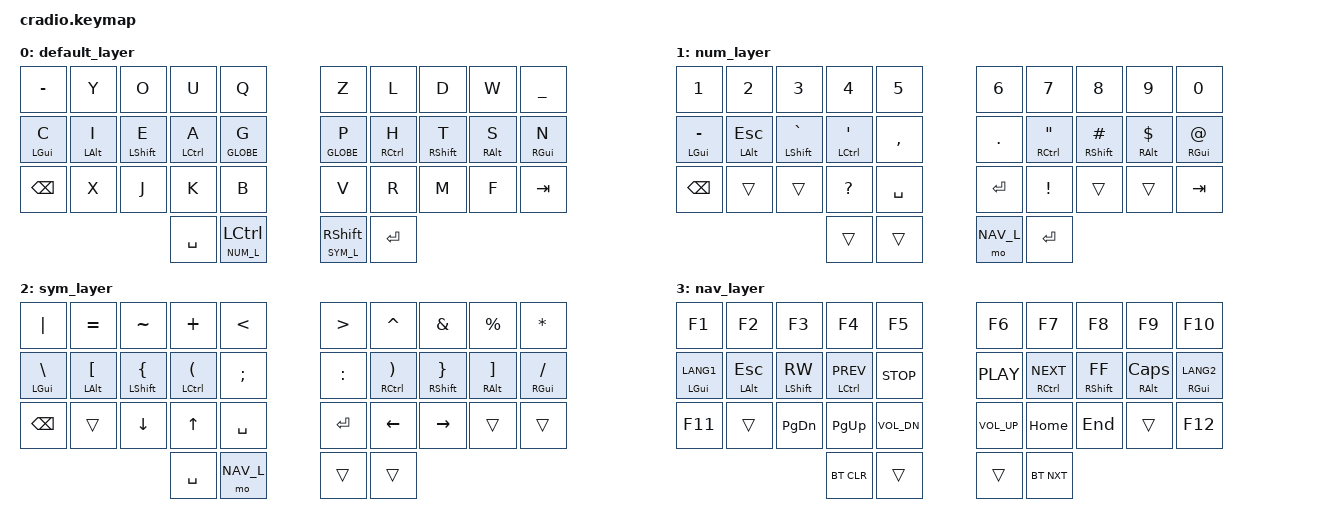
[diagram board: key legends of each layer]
/*
 * Copyright (c) 2020 The ZMK Contributors
 *
 * SPDX-License-Identifier: MIT
 */

#undef ZMK_BEHAVIORS_KEEP_ALL

#include <behaviors.dtsi>
#include <dt-bindings/zmk/keys.h>
#include <dt-bindings/zmk/bt.h>

#define NUM_L 1
#define SYM_L 2
#define NAV_L 3

// Using layer taps on thumbs, having quick tap as well helps w/ repeating space/backspace
&lt { quick-tap-ms = <200>; };

/ {
    behaviors {
        hm: homerow_mods {
            compatible = "zmk,behavior-hold-tap";
            #binding-cells = <2>;
            flavor = "balanced";
            require-prior-idle-ms = <120>;
            tapping-term-ms = <200>;
            quick-tap-ms = <190>;
            bindings = <&kp>, <&kp>;
        };
        mot: mo_or_tap {
            compatible = "zmk,behavior-hold-tap";
            #binding-cells = <2>;
            flavor = "hold-preferred"; // or "balanced"/"hold-preferred"
            tapping-term-ms = <200>;
            bindings = <&mo>, <&sk>;
        };
    };

    keymap {
        compatible = "zmk,keymap";
        wakeup-source;

        default_layer {
            bindings = <
                &kp MINUS  &kp Y      &kp O       &kp U          &kp Q         &kp Z            &kp L          &kp D       &kp W      &kp UNDER
                &hm LGUI C &hm LALT I &hm LSHFT E &hm LCTRL A    &hm GLOBE G   &hm GLOBE P      &hm RCTRL H    &hm RSHFT T &hm RALT S &hm RGUI N
                &kp BSPC   &kp X      &kp J       &kp K          &kp B         &kp V            &kp R          &kp M       &kp F      &kp TAB
                                              &kp SPACE     &mot NUM_L LCTRL   &mot SYM_L RSHFT &kp ENTER
            >;
        };

        num_layer {
            bindings = <
                &kp N1     &kp N2     &kp N3      &kp N4          &kp N5        &kp N6          &kp N7         &kp N8      &kp N9     &kp N0
        &hm LGUI MINUS &hm LALT ESC &hm LSHFT GRAVE &hm LCTRL SQT &kp COMMA     &kp PERIOD &hm RCTRL DQT &hm RSHFT HASH &hm RALT DOLLAR &hm RGUI AT
                &kp BSPC   &trans     &trans      &kp QMARK       &kp SPACE     &kp ENTER       &kp EXCL       &trans      &trans     &kp TAB
                                                  &trans          &trans        &mo NAV_L       &kp ENTER
            >;
        };

        sym_layer {
            bindings = <
                &kp PIPE   &kp EQUAL   &kp TILDE   &kp PLUS       &kp LT        &kp GT          &kp CARET      &kp AMPS    &kp PRCNT  &kp ASTRK
        &hm LGUI BSLH  &hm LALT LBKT  &hm LSHFT LBRC  &hm LCTRL LPAR &kp SEMI  &kp COLON       &hm RCTRL RPAR &hm RSHFT RBRC &hm RALT RBKT &hm RGUI SLASH
                &kp BSPC   &trans      &kp DOWN    &kp UP         &kp SPACE     &kp ENTER       &kp LEFT       &kp RIGHT    &trans     &trans
                                                   &kp SPACE      &mo NAV_L     &trans          &trans
            >;
        };

        nav_layer {
            bindings = <
                &kp F1     &kp F2     &kp F3      &kp F4          &kp F5       &kp F6           &kp F7         &kp F8      &kp F9     &kp F10
       &hm LGUI LANG1 &hm LALT ESC &hm LSHFT C_RW &hm LCTRL C_PREV &kp C_STOP &kp C_PLAY &hm RCTRL C_NEXT &hm RSHFT C_FF &hm RALT CAPS &hm RGUI LANG2
                &kp F11    &trans     &kp PG_DN   &kp PG_UP       &kp C_VOL_DN &kp C_VOL_UP     &kp HOME       &kp END     &trans     &kp F12
                                                  &bt BT_CLR      &trans       &trans           &bt BT_NXT
            >;
        };

    };
};
